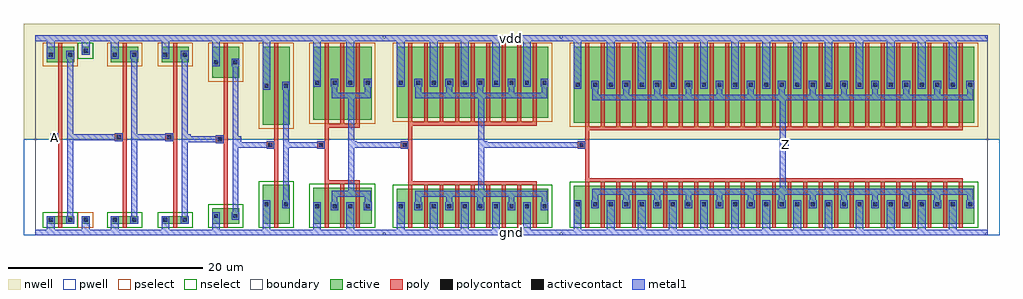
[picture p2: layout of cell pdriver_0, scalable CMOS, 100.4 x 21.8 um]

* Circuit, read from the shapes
.subckt pdriver_0 A Z gnd vdd
M1 pinv_9_1/A A gnd gnd nfet w=0.8u l=0.4u
M2 pinv_9_2/A pinv_9_1/A gnd gnd nfet w=0.8u l=0.4u
M3 pinv_10_3/A pinv_9_2/A gnd gnd nfet w=0.8u l=0.4u
M4 pinv_11_4/A pinv_10_3/A gnd gnd nfet w=1.6u l=0.4u
M5 pinv_12_5/A pinv_11_4/A gnd gnd nfet w=4u l=0.4u
M6 pinv_13_6/A pinv_12_5/A gnd gnd nfet w=3.7u l=0.4u m=3
M7 pinv_14_7/A pinv_13_6/A gnd gnd nfet w=3.6u l=0.4u m=9
M8 Z pinv_14_7/A gnd gnd nfet w=3.9u l=0.4u m=25
M9 pinv_9_1/A A vdd vdd pfet w=1.6u l=0.4u
M10 pinv_9_2/A pinv_9_1/A vdd vdd pfet w=1.6u l=0.4u
M11 pinv_10_3/A pinv_9_2/A vdd vdd pfet w=1.6u l=0.4u
M12 pinv_11_4/A pinv_10_3/A vdd vdd pfet w=3.2u l=0.4u
M13 pinv_12_5/A pinv_11_4/A vdd vdd pfet w=8u l=0.4u
M14 pinv_13_6/A pinv_12_5/A vdd vdd pfet w=7.5u l=0.4u m=3
M15 pinv_14_7/A pinv_13_6/A vdd vdd pfet w=7.3u l=0.4u m=9
M16 Z pinv_14_7/A vdd vdd pfet w=7.8u l=0.4u m=25
.ends

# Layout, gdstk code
import gdstk
lib = gdstk.Library(unit=1e-6, precision=1e-09)
def R(c, l, rs):  # rectangles x0, y0, x1, y1
    for r in rs: c.add(gdstk.rectangle(r[:2], r[2:], *l))
def A(c, l, x, y, w, h, nx, ny, dx, dy):  # array of equal rectangles
    R(c, l, [(x+i*dx, y+j*dy, x+i*dx+w, y+j*dy+h) for i in range(nx) for j in range(ny)])
pwell = (41, 0)
nwell = (42, 0)
active = (43, 0)
pselect = (44, 0)
nselect = (45, 0)
poly = (46, 0)
polycontact = (47, 0)
activecontact = (48, 0)
metal1 = (49, 0)
boundary = (63, 0)

contact_10 = lib.new_cell('contact_10')
R(contact_10, nwell, [(-1.2,-1.2,2,2)])
R(contact_10, active, [(0,0,0.8,0.8)])
R(contact_10, pselect, [(-0.4,-0.4,1.2,1.2)])
R(contact_10, activecontact, [(0.2,0.2,0.6,0.6)])
R(contact_10, metal1, [(0,0,0.8,0.8)])
R(contact_10, boundary, [(-1.2,-1.2,2,2)])

pmos_m1_w1_600_sm1_dm1_d = lib.new_cell('pmos_m1_w1_600_sm1_dm1_da_p')
R(pmos_m1_w1_600_sm1_dm1_d, nwell, [(-1.2,-1.2,4,2.8)])
R(pmos_m1_w1_600_sm1_dm1_d, active, [(0,0,2.8,1.6)])
R(pmos_m1_w1_600_sm1_dm1_d, pselect, [(-0.4,-0.4,3.2,2)])
R(pmos_m1_w1_600_sm1_dm1_d, poly, [(1.2,-0.4,1.6,2), (1.2,-0.4,1.6,2)])
R(pmos_m1_w1_600_sm1_dm1_d, metal1, [(0,0.4,0.8,1.2), (2,0.4,2.8,1.2)])
R(pmos_m1_w1_600_sm1_dm1_d, boundary, [(-1.2,-1.2,4,2.8)])
pmos_m1_w1_600_sm1_dm1_d.add(gdstk.Reference(contact_10, (0,0.4)))
pmos_m1_w1_600_sm1_dm1_d.add(gdstk.Reference(contact_10, (2,0.4)))
pmos_m1_w1_600_sm1_dm1_d.add(gdstk.Label('G', (1.4,0.8), layer=46, texttype=0))
pmos_m1_w1_600_sm1_dm1_d.add(gdstk.Label('S', (0.4,0.8), layer=49, texttype=0))
pmos_m1_w1_600_sm1_dm1_d.add(gdstk.Label('D', (2.4,0.8), layer=49, texttype=0))

contact_9 = lib.new_cell('contact_9')
R(contact_9, pwell, [(-1.2,-1.2,2,2)])
R(contact_9, active, [(0,0,0.8,0.8)])
R(contact_9, nselect, [(-0.4,-0.4,1.2,1.2)])
R(contact_9, activecontact, [(0.2,0.2,0.6,0.6)])
R(contact_9, metal1, [(0,0,0.8,0.8)])
R(contact_9, boundary, [(-1.2,-1.2,2,2)])

nmos_m1_w0_800_sm1_dm1_d = lib.new_cell('nmos_m1_w0_800_sm1_dm1_da_p')
R(nmos_m1_w0_800_sm1_dm1_d, pwell, [(-1.2,-1.2,4,2)])
R(nmos_m1_w0_800_sm1_dm1_d, active, [(0,0,2.8,0.8)])
R(nmos_m1_w0_800_sm1_dm1_d, nselect, [(-0.4,-0.4,3.2,1.2)])
R(nmos_m1_w0_800_sm1_dm1_d, poly, [(1.2,-0.4,1.6,1.2), (1.2,-0.4,1.6,1.2)])
R(nmos_m1_w0_800_sm1_dm1_d, metal1, [(0,0,0.8,0.8), (2,0,2.8,0.8)])
R(nmos_m1_w0_800_sm1_dm1_d, boundary, [(-1.2,-1.2,4,2)])
nmos_m1_w0_800_sm1_dm1_d.add(gdstk.Reference(contact_9, (0,0)))
nmos_m1_w0_800_sm1_dm1_d.add(gdstk.Reference(contact_9, (2,0)))
nmos_m1_w0_800_sm1_dm1_d.add(gdstk.Label('G', (1.4,0.4), layer=46, texttype=0))
nmos_m1_w0_800_sm1_dm1_d.add(gdstk.Label('S', (0.4,0.4), layer=49, texttype=0))
nmos_m1_w0_800_sm1_dm1_d.add(gdstk.Label('D', (2.4,0.4), layer=49, texttype=0))

contact_11 = lib.new_cell('contact_11')
R(contact_11, nwell, [(-1.2,-1.2,2,2)])
R(contact_11, active, [(0,0,0.8,0.8)])
R(contact_11, nselect, [(-0.4,-0.4,1.2,1.2)])
R(contact_11, activecontact, [(0.2,0.2,0.6,0.6)])
R(contact_11, metal1, [(0,0,0.8,0.8)])
R(contact_11, boundary, [(-1.2,-1.2,2,2)])

contact_12 = lib.new_cell('contact_12')
R(contact_12, pwell, [(-1.2,-1.2,2,2)])
R(contact_12, active, [(0,0,0.8,0.8)])
R(contact_12, pselect, [(-0.4,-0.4,1.2,1.2)])
R(contact_12, activecontact, [(0.2,0.2,0.6,0.6)])
R(contact_12, metal1, [(0,0,0.8,0.8)])
R(contact_12, boundary, [(-1.2,-1.2,2,2)])

contact_13 = lib.new_cell('contact_13')
R(contact_13, poly, [(0,0,0.8,0.8)])
R(contact_13, polycontact, [(0.2,0.2,0.6,0.6)])
R(contact_13, metal1, [(0,0,0.8,0.8)])
R(contact_13, boundary, [(0,0,0.8,0.8)])

pinv_8 = lib.new_cell('pinv_8')
R(pinv_8, pwell, [(-1.2,-0.3,7.8,9.6)])
R(pinv_8, nwell, [(-1.2,9.6,7.8,21.5)])
R(pinv_8, poly, [(2.4,2.1,2.8,17.1), (2,9.4,2.4,10.2)])
R(pinv_8, metal1, [(0,-0.3,6.6,0.3), (1.2,-0.3,2,0.9), (4.8,0,5.6,1.3), (3.3,0.9,3.9,18.7), (1.6,9.4,2.4,10.2), (3.6,9.5,4.2,10.1), (1.2,17.9,2,20.3), (4.8,18.7,5.6,20), (0,19.7,6.6,20.3)])
R(pinv_8, boundary, [(0,0,6.6,20), (0,0,6.6,20)])
pinv_8.add(gdstk.Reference(pmos_m1_w1_600_sm1_dm1_d, (1.2,17.5)))
pinv_8.add(gdstk.Reference(nmos_m1_w0_800_sm1_dm1_d, (1.2,0.9)))
pinv_8.add(gdstk.Reference(contact_11, (4.8,18.3)))
pinv_8.add(gdstk.Reference(contact_12, (4.8,0.9)))
pinv_8.add(gdstk.Reference(contact_13, (1.6,9.4)))
pinv_8.add(gdstk.Label('A', (2,9.8), layer=49, texttype=0))
pinv_8.add(gdstk.Label('Z', (3.9,9.8), layer=49, texttype=0))
pinv_8.add(gdstk.Label('gnd', (3.3,0), layer=49, texttype=0))
pinv_8.add(gdstk.Label('vdd', (3.3,20), layer=49, texttype=0))

pinv_9 = lib.new_cell('pinv_9')
R(pinv_9, pwell, [(-1.2,-0.3,6.4,9.6)])
R(pinv_9, nwell, [(-1.2,9.6,6.4,21.5)])
R(pinv_9, poly, [(2.4,2.1,2.8,17.1), (2,9.4,2.4,10.2)])
R(pinv_9, metal1, [(0,-0.3,5.2,0.3), (1.2,-0.3,2,0.9), (3.3,0.9,3.9,18.7), (1.6,9.4,2.4,10.2), (3.6,9.5,4.2,10.1), (1.2,17.9,2,20.3), (0,19.7,5.2,20.3)])
R(pinv_9, boundary, [(0,0,5.2,20), (0,0,5.2,20)])
pinv_9.add(gdstk.Reference(pmos_m1_w1_600_sm1_dm1_d, (1.2,17.5)))
pinv_9.add(gdstk.Reference(nmos_m1_w0_800_sm1_dm1_d, (1.2,0.9)))
pinv_9.add(gdstk.Reference(contact_13, (1.6,9.4)))
pinv_9.add(gdstk.Label('A', (2,9.8), layer=49, texttype=0))
pinv_9.add(gdstk.Label('Z', (3.9,9.8), layer=49, texttype=0))
pinv_9.add(gdstk.Label('gnd', (2.6,0), layer=49, texttype=0))
pinv_9.add(gdstk.Label('vdd', (2.6,20), layer=49, texttype=0))

pmos_m1_w3_200_sm1_dm1_d = lib.new_cell('pmos_m1_w3_200_sm1_dm1_da_p')
R(pmos_m1_w3_200_sm1_dm1_d, nwell, [(-1.2,-1.2,4,4.4)])
R(pmos_m1_w3_200_sm1_dm1_d, active, [(0,0,2.8,3.2)])
R(pmos_m1_w3_200_sm1_dm1_d, pselect, [(-0.4,-0.4,3.2,3.6)])
R(pmos_m1_w3_200_sm1_dm1_d, poly, [(1.2,-0.4,1.6,3.6), (1.2,-0.4,1.6,3.6)])
R(pmos_m1_w3_200_sm1_dm1_d, metal1, [(0,1.2,0.8,2), (2,1.2,2.8,2)])
R(pmos_m1_w3_200_sm1_dm1_d, boundary, [(-1.2,-1.2,4,4.4)])
pmos_m1_w3_200_sm1_dm1_d.add(gdstk.Reference(contact_10, (0,1.2)))
pmos_m1_w3_200_sm1_dm1_d.add(gdstk.Reference(contact_10, (2,1.2)))
pmos_m1_w3_200_sm1_dm1_d.add(gdstk.Label('G', (1.4,1.6), layer=46, texttype=0))
pmos_m1_w3_200_sm1_dm1_d.add(gdstk.Label('S', (0.4,1.6), layer=49, texttype=0))
pmos_m1_w3_200_sm1_dm1_d.add(gdstk.Label('D', (2.4,1.6), layer=49, texttype=0))

nmos_m1_w1_600_sm1_dm1_d = lib.new_cell('nmos_m1_w1_600_sm1_dm1_da_p')
R(nmos_m1_w1_600_sm1_dm1_d, pwell, [(-1.2,-1.2,4,2.8)])
R(nmos_m1_w1_600_sm1_dm1_d, active, [(0,0,2.8,1.6)])
R(nmos_m1_w1_600_sm1_dm1_d, nselect, [(-0.4,-0.4,3.2,2)])
R(nmos_m1_w1_600_sm1_dm1_d, poly, [(1.2,-0.4,1.6,2), (1.2,-0.4,1.6,2)])
R(nmos_m1_w1_600_sm1_dm1_d, metal1, [(0,0.4,0.8,1.2), (2,0.4,2.8,1.2)])
R(nmos_m1_w1_600_sm1_dm1_d, boundary, [(-1.2,-1.2,4,2.8)])
nmos_m1_w1_600_sm1_dm1_d.add(gdstk.Reference(contact_9, (0,0.4)))
nmos_m1_w1_600_sm1_dm1_d.add(gdstk.Reference(contact_9, (2,0.4)))
nmos_m1_w1_600_sm1_dm1_d.add(gdstk.Label('G', (1.4,0.8), layer=46, texttype=0))
nmos_m1_w1_600_sm1_dm1_d.add(gdstk.Label('S', (0.4,0.8), layer=49, texttype=0))
nmos_m1_w1_600_sm1_dm1_d.add(gdstk.Label('D', (2.4,0.8), layer=49, texttype=0))

pinv_10 = lib.new_cell('pinv_10')
R(pinv_10, pwell, [(-1.2,-0.3,6.4,9.6)])
R(pinv_10, nwell, [(-1.2,9.6,6.4,21.5)])
R(pinv_10, poly, [(2.4,2.9,2.8,15.5), (2,9.2,2.4,10)])
R(pinv_10, metal1, [(0,-0.3,5.2,0.3), (1.2,-0.3,2,1.3), (3.3,1.3,3.9,17.9), (1.6,9.2,2.4,10), (3.6,9.3,4.2,9.9), (1.2,17.1,2,20.3), (0,19.7,5.2,20.3)])
R(pinv_10, boundary, [(0,0,5.2,20), (0,0,5.2,20)])
pinv_10.add(gdstk.Reference(pmos_m1_w3_200_sm1_dm1_d, (1.2,15.9)))
pinv_10.add(gdstk.Reference(nmos_m1_w1_600_sm1_dm1_d, (1.2,0.9)))
pinv_10.add(gdstk.Reference(contact_13, (1.6,9.2)))
pinv_10.add(gdstk.Label('A', (2,9.6), layer=49, texttype=0))
pinv_10.add(gdstk.Label('Z', (3.9,9.6), layer=49, texttype=0))
pinv_10.add(gdstk.Label('gnd', (2.6,0), layer=49, texttype=0))
pinv_10.add(gdstk.Label('vdd', (2.6,20), layer=49, texttype=0))

pmos_m1_w8_000_sm1_dm1_d = lib.new_cell('pmos_m1_w8_000_sm1_dm1_da_p')
R(pmos_m1_w8_000_sm1_dm1_d, nwell, [(-1.2,-1.2,4,9.2)])
R(pmos_m1_w8_000_sm1_dm1_d, active, [(0,0,2.8,8)])
R(pmos_m1_w8_000_sm1_dm1_d, pselect, [(-0.4,-0.4,3.2,8.4)])
R(pmos_m1_w8_000_sm1_dm1_d, poly, [(1.2,-0.4,1.6,8.4), (1.2,-0.4,1.6,8.4)])
R(pmos_m1_w8_000_sm1_dm1_d, metal1, [(0,3.6,0.8,4.4), (2,3.6,2.8,4.4)])
R(pmos_m1_w8_000_sm1_dm1_d, boundary, [(-1.2,-1.2,4,9.2)])
pmos_m1_w8_000_sm1_dm1_d.add(gdstk.Reference(contact_10, (0,3.6)))
pmos_m1_w8_000_sm1_dm1_d.add(gdstk.Reference(contact_10, (2,3.6)))
pmos_m1_w8_000_sm1_dm1_d.add(gdstk.Label('G', (1.4,4), layer=46, texttype=0))
pmos_m1_w8_000_sm1_dm1_d.add(gdstk.Label('S', (0.4,4), layer=49, texttype=0))
pmos_m1_w8_000_sm1_dm1_d.add(gdstk.Label('D', (2.4,4), layer=49, texttype=0))

nmos_m1_w4_000_sm1_dm1_d = lib.new_cell('nmos_m1_w4_000_sm1_dm1_da_p')
R(nmos_m1_w4_000_sm1_dm1_d, pwell, [(-1.2,-1.2,4,5.2)])
R(nmos_m1_w4_000_sm1_dm1_d, active, [(0,0,2.8,4)])
R(nmos_m1_w4_000_sm1_dm1_d, nselect, [(-0.4,-0.4,3.2,4.4)])
R(nmos_m1_w4_000_sm1_dm1_d, poly, [(1.2,-0.4,1.6,4.4), (1.2,-0.4,1.6,4.4)])
R(nmos_m1_w4_000_sm1_dm1_d, metal1, [(0,1.6,0.8,2.4), (2,1.6,2.8,2.4)])
R(nmos_m1_w4_000_sm1_dm1_d, boundary, [(-1.2,-1.2,4,5.2)])
nmos_m1_w4_000_sm1_dm1_d.add(gdstk.Reference(contact_9, (0,1.6)))
nmos_m1_w4_000_sm1_dm1_d.add(gdstk.Reference(contact_9, (2,1.6)))
nmos_m1_w4_000_sm1_dm1_d.add(gdstk.Label('G', (1.4,2), layer=46, texttype=0))
nmos_m1_w4_000_sm1_dm1_d.add(gdstk.Label('S', (0.4,2), layer=49, texttype=0))
nmos_m1_w4_000_sm1_dm1_d.add(gdstk.Label('D', (2.4,2), layer=49, texttype=0))

pinv_11 = lib.new_cell('pinv_11')
R(pinv_11, pwell, [(-1.2,-0.3,6.4,9.6)])
R(pinv_11, nwell, [(-1.2,9.6,6.4,21.5)])
R(pinv_11, poly, [(2.4,5.3,2.8,10.7), (2,8.6,2.4,9.4)])
R(pinv_11, metal1, [(0,-0.3,5.2,0.3), (1.2,-0.3,2,2.5), (3.3,2.5,3.9,15.5), (1.6,8.6,2.4,9.4), (3.6,8.7,4.2,9.3), (1.2,14.7,2,20.3), (0,19.7,5.2,20.3)])
R(pinv_11, boundary, [(0,0,5.2,20), (0,0,5.2,20)])
pinv_11.add(gdstk.Reference(pmos_m1_w8_000_sm1_dm1_d, (1.2,11.1)))
pinv_11.add(gdstk.Reference(nmos_m1_w4_000_sm1_dm1_d, (1.2,0.9)))
pinv_11.add(gdstk.Reference(contact_13, (1.6,8.6)))
pinv_11.add(gdstk.Label('A', (2,9), layer=49, texttype=0))
pinv_11.add(gdstk.Label('Z', (3.9,9), layer=49, texttype=0))
pinv_11.add(gdstk.Label('gnd', (2.6,0), layer=49, texttype=0))
pinv_11.add(gdstk.Label('vdd', (2.6,20), layer=49, texttype=0))

pmos_m3_w7_500_sm1_dm1_d = lib.new_cell('pmos_m3_w7_500_sm1_dm1_da_p')
R(pmos_m3_w7_500_sm1_dm1_d, nwell, [(-1.2,-1.2,7.2,8.7)])
R(pmos_m3_w7_500_sm1_dm1_d, active, [(0,0,6,7.5)])
R(pmos_m3_w7_500_sm1_dm1_d, pselect, [(-0.4,-0.4,6.4,7.9)])
A(pmos_m3_w7_500_sm1_dm1_d, poly, 1.2, -0.4, 0.4, 8.3, 3, 1, 1.6, 0)
R(pmos_m3_w7_500_sm1_dm1_d, poly, [(1.2,-0.8,4.8,-0.4)])
R(pmos_m3_w7_500_sm1_dm1_d, metal1, [(1.9,2.2,5.9,2.8), (1.9,2.4,2.5,3.8), (5.3,2.4,5.9,3.8), (0,3.4,0.8,4.2), (3.4,3.4,4.2,4.2)])
R(pmos_m3_w7_500_sm1_dm1_d, boundary, [(-1.2,-1.2,7.2,8.7)])
pmos_m3_w7_500_sm1_dm1_d.add(gdstk.Reference(contact_10, (0,3.4)))
pmos_m3_w7_500_sm1_dm1_d.add(gdstk.Reference(contact_10, (1.8,3.4)))
pmos_m3_w7_500_sm1_dm1_d.add(gdstk.Reference(contact_10, (3.4,3.4)))
pmos_m3_w7_500_sm1_dm1_d.add(gdstk.Reference(contact_10, (5.2,3.4)))
pmos_m3_w7_500_sm1_dm1_d.add(gdstk.Label('G', (3,-0.6), layer=46, texttype=0))
pmos_m3_w7_500_sm1_dm1_d.add(gdstk.Label('S', (3.8,3.8), layer=49, texttype=0))
pmos_m3_w7_500_sm1_dm1_d.add(gdstk.Label('S', (0.4,3.8), layer=49, texttype=0))
pmos_m3_w7_500_sm1_dm1_d.add(gdstk.Label('D', (3.9,2.5), layer=49, texttype=0))

nmos_m3_w3_700_sm1_dm1_d = lib.new_cell('nmos_m3_w3_700_sm1_dm1_da_p')
R(nmos_m3_w3_700_sm1_dm1_d, pwell, [(-1.2,-1.2,7.2,4.9)])
R(nmos_m3_w3_700_sm1_dm1_d, active, [(0,0,6,3.7)])
R(nmos_m3_w3_700_sm1_dm1_d, nselect, [(-0.4,-0.4,6.4,4.1)])
A(nmos_m3_w3_700_sm1_dm1_d, poly, 1.2, -0.4, 0.4, 4.5, 3, 1, 1.6, 0)
R(nmos_m3_w3_700_sm1_dm1_d, poly, [(1.2,4.1,4.8,4.5)])
R(nmos_m3_w3_700_sm1_dm1_d, metal1, [(0,1.4,0.8,2.2), (3.4,1.4,4.2,2.2), (1.9,1.8,2.5,3.2), (5.3,1.8,5.9,3.2), (1.9,2.8,5.9,3.4)])
R(nmos_m3_w3_700_sm1_dm1_d, boundary, [(-1.2,-1.2,7.2,4.9)])
nmos_m3_w3_700_sm1_dm1_d.add(gdstk.Reference(contact_9, (0,1.4)))
nmos_m3_w3_700_sm1_dm1_d.add(gdstk.Reference(contact_9, (1.8,1.4)))
nmos_m3_w3_700_sm1_dm1_d.add(gdstk.Reference(contact_9, (3.4,1.4)))
nmos_m3_w3_700_sm1_dm1_d.add(gdstk.Reference(contact_9, (5.2,1.4)))
nmos_m3_w3_700_sm1_dm1_d.add(gdstk.Label('G', (3,4.3), layer=46, texttype=0))
nmos_m3_w3_700_sm1_dm1_d.add(gdstk.Label('S', (0.4,1.8), layer=49, texttype=0))
nmos_m3_w3_700_sm1_dm1_d.add(gdstk.Label('S', (3.8,1.8), layer=49, texttype=0))
nmos_m3_w3_700_sm1_dm1_d.add(gdstk.Label('D', (3.9,3.1), layer=49, texttype=0))

pinv_12 = lib.new_cell('pinv_12')
R(pinv_12, pwell, [(-1.2,-0.3,9.8,9.6)])
R(pinv_12, nwell, [(-1.2,9.6,9.8,21.5)])
R(pinv_12, poly, [(2.4,5.4,2.8,10.8), (2,8.6,2.4,9.4)])
R(pinv_12, metal1, [(0,-0.3,8.6,0.3), (1.2,-0.3,2,2.3), (4.6,-0.3,5.4,2.3), (4.8,3.7,5.4,14.4), (1.6,8.6,2.4,9.4), (5.1,8.8,5.7,9.4), (1.2,15,2,20.3), (4.6,15,5.4,20.3), (0,19.7,8.6,20.3)])
R(pinv_12, boundary, [(0,0,8.6,20), (0,0,8.6,20)])
pinv_12.add(gdstk.Reference(pmos_m3_w7_500_sm1_dm1_d, (1.2,11.6)))
pinv_12.add(gdstk.Reference(nmos_m3_w3_700_sm1_dm1_d, (1.2,0.9)))
pinv_12.add(gdstk.Reference(contact_13, (1.6,8.6)))
pinv_12.add(gdstk.Label('A', (2,9), layer=49, texttype=0))
pinv_12.add(gdstk.Label('Z', (5.4,9.1), layer=49, texttype=0))
pinv_12.add(gdstk.Label('gnd', (4.3,0), layer=49, texttype=0))
pinv_12.add(gdstk.Label('vdd', (4.3,20), layer=49, texttype=0))

pmos_m9_w7_300_sm1_dm1_d = lib.new_cell('pmos_m9_w7_300_sm1_dm1_da_p')
R(pmos_m9_w7_300_sm1_dm1_d, nwell, [(-1.2,-1.2,16.8,8.5)])
R(pmos_m9_w7_300_sm1_dm1_d, active, [(0,0,15.6,7.3)])
R(pmos_m9_w7_300_sm1_dm1_d, pselect, [(-0.4,-0.4,16,7.7)])
A(pmos_m9_w7_300_sm1_dm1_d, poly, 1.2, -0.4, 0.4, 8.1, 9, 1, 1.6, 0)
R(pmos_m9_w7_300_sm1_dm1_d, poly, [(1.2,-0.8,14.4,-0.4)])
A(pmos_m9_w7_300_sm1_dm1_d, metal1, 1.9, 2.4, 0.6, 1.2, 4, 1, 3.2, 0)
A(pmos_m9_w7_300_sm1_dm1_d, metal1, 3.4, 3.2, 0.8, 0.8, 4, 1, 3.2, 0)
R(pmos_m9_w7_300_sm1_dm1_d, metal1, [(1.9,2,15.5,2.6), (14.9,2.4,15.5,3.6), (0,3.2,0.8,4)])
R(pmos_m9_w7_300_sm1_dm1_d, boundary, [(-1.2,-1.2,16.8,8.5)])
pmos_m9_w7_300_sm1_dm1_d.add(gdstk.Reference(contact_10, (0,3.2)))
pmos_m9_w7_300_sm1_dm1_d.add(gdstk.Reference(contact_10, (1.8,3.2)))
pmos_m9_w7_300_sm1_dm1_d.add(gdstk.Reference(contact_10, (3.4,3.2)))
pmos_m9_w7_300_sm1_dm1_d.add(gdstk.Reference(contact_10, (5,3.2)))
pmos_m9_w7_300_sm1_dm1_d.add(gdstk.Reference(contact_10, (6.6,3.2)))
pmos_m9_w7_300_sm1_dm1_d.add(gdstk.Reference(contact_10, (8.2,3.2)))
pmos_m9_w7_300_sm1_dm1_d.add(gdstk.Reference(contact_10, (9.8,3.2)))
pmos_m9_w7_300_sm1_dm1_d.add(gdstk.Reference(contact_10, (11.4,3.2)))
pmos_m9_w7_300_sm1_dm1_d.add(gdstk.Reference(contact_10, (13,3.2)))
pmos_m9_w7_300_sm1_dm1_d.add(gdstk.Reference(contact_10, (14.8,3.2)))
pmos_m9_w7_300_sm1_dm1_d.add(gdstk.Label('G', (7.8,-0.6), layer=46, texttype=0))
pmos_m9_w7_300_sm1_dm1_d.add(gdstk.Label('S', (7,3.6), layer=49, texttype=0))
pmos_m9_w7_300_sm1_dm1_d.add(gdstk.Label('S', (10.2,3.6), layer=49, texttype=0))
pmos_m9_w7_300_sm1_dm1_d.add(gdstk.Label('S', (0.4,3.6), layer=49, texttype=0))
pmos_m9_w7_300_sm1_dm1_d.add(gdstk.Label('S', (3.8,3.6), layer=49, texttype=0))
pmos_m9_w7_300_sm1_dm1_d.add(gdstk.Label('S', (13.4,3.6), layer=49, texttype=0))
pmos_m9_w7_300_sm1_dm1_d.add(gdstk.Label('D', (8.7,2.3), layer=49, texttype=0))

nmos_m9_w3_600_sm1_dm1_d = lib.new_cell('nmos_m9_w3_600_sm1_dm1_da_p')
R(nmos_m9_w3_600_sm1_dm1_d, pwell, [(-1.2,-1.2,16.8,4.8)])
R(nmos_m9_w3_600_sm1_dm1_d, active, [(0,0,15.6,3.6)])
R(nmos_m9_w3_600_sm1_dm1_d, nselect, [(-0.4,-0.4,16,4)])
A(nmos_m9_w3_600_sm1_dm1_d, poly, 1.2, -0.4, 0.4, 4.4, 9, 1, 1.6, 0)
R(nmos_m9_w3_600_sm1_dm1_d, poly, [(1.2,4,14.4,4.4)])
A(nmos_m9_w3_600_sm1_dm1_d, metal1, 3.4, 1.4, 0.8, 0.8, 4, 1, 3.2, 0)
A(nmos_m9_w3_600_sm1_dm1_d, metal1, 1.9, 1.8, 0.6, 1.3, 4, 1, 3.2, 0)
R(nmos_m9_w3_600_sm1_dm1_d, metal1, [(0,1.4,0.8,2.2), (14.9,1.8,15.5,3.1), (1.9,2.8,15.5,3.4)])
R(nmos_m9_w3_600_sm1_dm1_d, boundary, [(-1.2,-1.2,16.8,4.8)])
nmos_m9_w3_600_sm1_dm1_d.add(gdstk.Reference(contact_9, (0,1.4)))
nmos_m9_w3_600_sm1_dm1_d.add(gdstk.Reference(contact_9, (1.8,1.4)))
nmos_m9_w3_600_sm1_dm1_d.add(gdstk.Reference(contact_9, (3.4,1.4)))
nmos_m9_w3_600_sm1_dm1_d.add(gdstk.Reference(contact_9, (5,1.4)))
nmos_m9_w3_600_sm1_dm1_d.add(gdstk.Reference(contact_9, (6.6,1.4)))
nmos_m9_w3_600_sm1_dm1_d.add(gdstk.Reference(contact_9, (8.2,1.4)))
nmos_m9_w3_600_sm1_dm1_d.add(gdstk.Reference(contact_9, (9.8,1.4)))
nmos_m9_w3_600_sm1_dm1_d.add(gdstk.Reference(contact_9, (11.4,1.4)))
nmos_m9_w3_600_sm1_dm1_d.add(gdstk.Reference(contact_9, (13,1.4)))
nmos_m9_w3_600_sm1_dm1_d.add(gdstk.Reference(contact_9, (14.8,1.4)))
nmos_m9_w3_600_sm1_dm1_d.add(gdstk.Label('G', (7.8,4.2), layer=46, texttype=0))
nmos_m9_w3_600_sm1_dm1_d.add(gdstk.Label('S', (0.4,1.8), layer=49, texttype=0))
nmos_m9_w3_600_sm1_dm1_d.add(gdstk.Label('S', (7,1.8), layer=49, texttype=0))
nmos_m9_w3_600_sm1_dm1_d.add(gdstk.Label('S', (3.8,1.8), layer=49, texttype=0))
nmos_m9_w3_600_sm1_dm1_d.add(gdstk.Label('S', (10.2,1.8), layer=49, texttype=0))
nmos_m9_w3_600_sm1_dm1_d.add(gdstk.Label('S', (13.4,1.8), layer=49, texttype=0))
nmos_m9_w3_600_sm1_dm1_d.add(gdstk.Label('D', (8.7,3.1), layer=49, texttype=0))

pinv_13 = lib.new_cell('pinv_13')
R(pinv_13, pwell, [(-1.2,-0.3,19.4,9.6)])
R(pinv_13, nwell, [(-1.2,9.6,19.4,21.5)])
R(pinv_13, poly, [(2.4,5.3,2.8,11), (2,8.6,2.4,9.4)])
A(pinv_13, metal1, 4.6, -0.3, 0.8, 2.6, 4, 1, 3.2, 0)
A(pinv_13, metal1, 4.6, 15, 0.8, 5.3, 4, 1, 3.2, 0)
R(pinv_13, metal1, [(0,-0.3,18.2,0.3), (1.2,-0.3,2,2.3), (9.6,3.7,10.2,14.4), (1.6,8.6,2.4,9.4), (9.9,8.8,10.5,9.4), (1.2,15,2,20.3), (0,19.7,18.2,20.3)])
R(pinv_13, boundary, [(0,0,18.2,20), (0,0,18.2,20)])
pinv_13.add(gdstk.Reference(pmos_m9_w7_300_sm1_dm1_d, (1.2,11.8)))
pinv_13.add(gdstk.Reference(nmos_m9_w3_600_sm1_dm1_d, (1.2,0.9)))
pinv_13.add(gdstk.Reference(contact_13, (1.6,8.6)))
pinv_13.add(gdstk.Label('A', (2,9), layer=49, texttype=0))
pinv_13.add(gdstk.Label('Z', (10.2,9.1), layer=49, texttype=0))
pinv_13.add(gdstk.Label('gnd', (9.1,0), layer=49, texttype=0))
pinv_13.add(gdstk.Label('vdd', (9.1,20), layer=49, texttype=0))

pmos_m25_w7_800_sm1_dm1_ = lib.new_cell('pmos_m25_w7_800_sm1_dm1_da_p')
R(pmos_m25_w7_800_sm1_dm1_, nwell, [(-1.2,-1.2,42.4,9)])
R(pmos_m25_w7_800_sm1_dm1_, active, [(0,0,41.2,7.8)])
R(pmos_m25_w7_800_sm1_dm1_, pselect, [(-0.4,-0.4,41.6,8.2)])
A(pmos_m25_w7_800_sm1_dm1_, poly, 1.2, -0.4, 0.4, 8.6, 25, 1, 1.6, 0)
R(pmos_m25_w7_800_sm1_dm1_, poly, [(1.2,-0.8,40,-0.4)])
A(pmos_m25_w7_800_sm1_dm1_, metal1, 1.9, 2.6, 0.6, 1.3, 12, 1, 3.2, 0)
A(pmos_m25_w7_800_sm1_dm1_, metal1, 3.4, 3.5, 0.8, 0.8, 12, 1, 3.2, 0)
R(pmos_m25_w7_800_sm1_dm1_, metal1, [(1.9,2.3,41.1,2.9), (40.5,2.6,41.1,3.9), (0,3.5,0.8,4.3)])
R(pmos_m25_w7_800_sm1_dm1_, boundary, [(-1.2,-1.2,42.4,9)])
pmos_m25_w7_800_sm1_dm1_.add(gdstk.Reference(contact_10, (0,3.5)))
pmos_m25_w7_800_sm1_dm1_.add(gdstk.Reference(contact_10, (1.8,3.5)))
pmos_m25_w7_800_sm1_dm1_.add(gdstk.Reference(contact_10, (3.4,3.5)))
pmos_m25_w7_800_sm1_dm1_.add(gdstk.Reference(contact_10, (5,3.5)))
pmos_m25_w7_800_sm1_dm1_.add(gdstk.Reference(contact_10, (6.6,3.5)))
pmos_m25_w7_800_sm1_dm1_.add(gdstk.Reference(contact_10, (8.2,3.5)))
pmos_m25_w7_800_sm1_dm1_.add(gdstk.Reference(contact_10, (9.8,3.5)))
pmos_m25_w7_800_sm1_dm1_.add(gdstk.Reference(contact_10, (11.4,3.5)))
pmos_m25_w7_800_sm1_dm1_.add(gdstk.Reference(contact_10, (13,3.5)))
pmos_m25_w7_800_sm1_dm1_.add(gdstk.Reference(contact_10, (14.6,3.5)))
pmos_m25_w7_800_sm1_dm1_.add(gdstk.Reference(contact_10, (16.2,3.5)))
pmos_m25_w7_800_sm1_dm1_.add(gdstk.Reference(contact_10, (17.8,3.5)))
pmos_m25_w7_800_sm1_dm1_.add(gdstk.Reference(contact_10, (19.4,3.5)))
pmos_m25_w7_800_sm1_dm1_.add(gdstk.Reference(contact_10, (21,3.5)))
pmos_m25_w7_800_sm1_dm1_.add(gdstk.Reference(contact_10, (22.6,3.5)))
pmos_m25_w7_800_sm1_dm1_.add(gdstk.Reference(contact_10, (24.2,3.5)))
pmos_m25_w7_800_sm1_dm1_.add(gdstk.Reference(contact_10, (25.8,3.5)))
pmos_m25_w7_800_sm1_dm1_.add(gdstk.Reference(contact_10, (27.4,3.5)))
pmos_m25_w7_800_sm1_dm1_.add(gdstk.Reference(contact_10, (29,3.5)))
pmos_m25_w7_800_sm1_dm1_.add(gdstk.Reference(contact_10, (30.6,3.5)))
pmos_m25_w7_800_sm1_dm1_.add(gdstk.Reference(contact_10, (32.2,3.5)))
pmos_m25_w7_800_sm1_dm1_.add(gdstk.Reference(contact_10, (33.8,3.5)))
pmos_m25_w7_800_sm1_dm1_.add(gdstk.Reference(contact_10, (35.4,3.5)))
pmos_m25_w7_800_sm1_dm1_.add(gdstk.Reference(contact_10, (37,3.5)))
pmos_m25_w7_800_sm1_dm1_.add(gdstk.Reference(contact_10, (38.6,3.5)))
pmos_m25_w7_800_sm1_dm1_.add(gdstk.Reference(contact_10, (40.4,3.5)))
pmos_m25_w7_800_sm1_dm1_.add(gdstk.Label('G', (20.6,-0.6), layer=46, texttype=0))
pmos_m25_w7_800_sm1_dm1_.add(gdstk.Label('S', (39,3.9), layer=49, texttype=0))
pmos_m25_w7_800_sm1_dm1_.add(gdstk.Label('S', (13.4,3.9), layer=49, texttype=0))
pmos_m25_w7_800_sm1_dm1_.add(gdstk.Label('S', (3.8,3.9), layer=49, texttype=0))
pmos_m25_w7_800_sm1_dm1_.add(gdstk.Label('S', (7,3.9), layer=49, texttype=0))
pmos_m25_w7_800_sm1_dm1_.add(gdstk.Label('S', (29.4,3.9), layer=49, texttype=0))
pmos_m25_w7_800_sm1_dm1_.add(gdstk.Label('S', (19.8,3.9), layer=49, texttype=0))
pmos_m25_w7_800_sm1_dm1_.add(gdstk.Label('S', (32.6,3.9), layer=49, texttype=0))
pmos_m25_w7_800_sm1_dm1_.add(gdstk.Label('S', (26.2,3.9), layer=49, texttype=0))
pmos_m25_w7_800_sm1_dm1_.add(gdstk.Label('S', (35.8,3.9), layer=49, texttype=0))
pmos_m25_w7_800_sm1_dm1_.add(gdstk.Label('S', (23,3.9), layer=49, texttype=0))
pmos_m25_w7_800_sm1_dm1_.add(gdstk.Label('S', (16.6,3.9), layer=49, texttype=0))
pmos_m25_w7_800_sm1_dm1_.add(gdstk.Label('S', (10.2,3.9), layer=49, texttype=0))
pmos_m25_w7_800_sm1_dm1_.add(gdstk.Label('S', (0.4,3.9), layer=49, texttype=0))
pmos_m25_w7_800_sm1_dm1_.add(gdstk.Label('D', (21.5,2.6), layer=49, texttype=0))

nmos_m25_w3_900_sm1_dm1_ = lib.new_cell('nmos_m25_w3_900_sm1_dm1_da_p')
R(nmos_m25_w3_900_sm1_dm1_, pwell, [(-1.2,-1.2,42.4,5.1)])
R(nmos_m25_w3_900_sm1_dm1_, active, [(0,0,41.2,3.9)])
R(nmos_m25_w3_900_sm1_dm1_, nselect, [(-0.4,-0.4,41.6,4.3)])
A(nmos_m25_w3_900_sm1_dm1_, poly, 1.2, -0.4, 0.4, 4.7, 25, 1, 1.6, 0)
R(nmos_m25_w3_900_sm1_dm1_, poly, [(1.2,4.3,40,4.7)])
A(nmos_m25_w3_900_sm1_dm1_, metal1, 3.4, 1.6, 0.8, 0.8, 12, 1, 3.2, 0)
A(nmos_m25_w3_900_sm1_dm1_, metal1, 1.9, 2, 0.6, 1.2, 12, 1, 3.2, 0)
R(nmos_m25_w3_900_sm1_dm1_, metal1, [(0,1.6,0.8,2.4), (40.5,2,41.1,3.2), (1.9,3,41.1,3.6)])
R(nmos_m25_w3_900_sm1_dm1_, boundary, [(-1.2,-1.2,42.4,5.1)])
nmos_m25_w3_900_sm1_dm1_.add(gdstk.Reference(contact_9, (0,1.6)))
nmos_m25_w3_900_sm1_dm1_.add(gdstk.Reference(contact_9, (1.8,1.6)))
nmos_m25_w3_900_sm1_dm1_.add(gdstk.Reference(contact_9, (3.4,1.6)))
nmos_m25_w3_900_sm1_dm1_.add(gdstk.Reference(contact_9, (5,1.6)))
nmos_m25_w3_900_sm1_dm1_.add(gdstk.Reference(contact_9, (6.6,1.6)))
nmos_m25_w3_900_sm1_dm1_.add(gdstk.Reference(contact_9, (8.2,1.6)))
nmos_m25_w3_900_sm1_dm1_.add(gdstk.Reference(contact_9, (9.8,1.6)))
nmos_m25_w3_900_sm1_dm1_.add(gdstk.Reference(contact_9, (11.4,1.6)))
nmos_m25_w3_900_sm1_dm1_.add(gdstk.Reference(contact_9, (13,1.6)))
nmos_m25_w3_900_sm1_dm1_.add(gdstk.Reference(contact_9, (14.6,1.6)))
nmos_m25_w3_900_sm1_dm1_.add(gdstk.Reference(contact_9, (16.2,1.6)))
nmos_m25_w3_900_sm1_dm1_.add(gdstk.Reference(contact_9, (17.8,1.6)))
nmos_m25_w3_900_sm1_dm1_.add(gdstk.Reference(contact_9, (19.4,1.6)))
nmos_m25_w3_900_sm1_dm1_.add(gdstk.Reference(contact_9, (21,1.6)))
nmos_m25_w3_900_sm1_dm1_.add(gdstk.Reference(contact_9, (22.6,1.6)))
nmos_m25_w3_900_sm1_dm1_.add(gdstk.Reference(contact_9, (24.2,1.6)))
nmos_m25_w3_900_sm1_dm1_.add(gdstk.Reference(contact_9, (25.8,1.6)))
nmos_m25_w3_900_sm1_dm1_.add(gdstk.Reference(contact_9, (27.4,1.6)))
nmos_m25_w3_900_sm1_dm1_.add(gdstk.Reference(contact_9, (29,1.6)))
nmos_m25_w3_900_sm1_dm1_.add(gdstk.Reference(contact_9, (30.6,1.6)))
nmos_m25_w3_900_sm1_dm1_.add(gdstk.Reference(contact_9, (32.2,1.6)))
nmos_m25_w3_900_sm1_dm1_.add(gdstk.Reference(contact_9, (33.8,1.6)))
nmos_m25_w3_900_sm1_dm1_.add(gdstk.Reference(contact_9, (35.4,1.6)))
nmos_m25_w3_900_sm1_dm1_.add(gdstk.Reference(contact_9, (37,1.6)))
nmos_m25_w3_900_sm1_dm1_.add(gdstk.Reference(contact_9, (38.6,1.6)))
nmos_m25_w3_900_sm1_dm1_.add(gdstk.Reference(contact_9, (40.4,1.6)))
nmos_m25_w3_900_sm1_dm1_.add(gdstk.Label('G', (20.6,4.5), layer=46, texttype=0))
nmos_m25_w3_900_sm1_dm1_.add(gdstk.Label('S', (39,2), layer=49, texttype=0))
nmos_m25_w3_900_sm1_dm1_.add(gdstk.Label('S', (3.8,2), layer=49, texttype=0))
nmos_m25_w3_900_sm1_dm1_.add(gdstk.Label('S', (26.2,2), layer=49, texttype=0))
nmos_m25_w3_900_sm1_dm1_.add(gdstk.Label('S', (7,2), layer=49, texttype=0))
nmos_m25_w3_900_sm1_dm1_.add(gdstk.Label('S', (19.8,2), layer=49, texttype=0))
nmos_m25_w3_900_sm1_dm1_.add(gdstk.Label('S', (32.6,2), layer=49, texttype=0))
nmos_m25_w3_900_sm1_dm1_.add(gdstk.Label('S', (10.2,2), layer=49, texttype=0))
nmos_m25_w3_900_sm1_dm1_.add(gdstk.Label('S', (0.4,2), layer=49, texttype=0))
nmos_m25_w3_900_sm1_dm1_.add(gdstk.Label('S', (29.4,2), layer=49, texttype=0))
nmos_m25_w3_900_sm1_dm1_.add(gdstk.Label('S', (23,2), layer=49, texttype=0))
nmos_m25_w3_900_sm1_dm1_.add(gdstk.Label('S', (13.4,2), layer=49, texttype=0))
nmos_m25_w3_900_sm1_dm1_.add(gdstk.Label('S', (16.6,2), layer=49, texttype=0))
nmos_m25_w3_900_sm1_dm1_.add(gdstk.Label('S', (35.8,2), layer=49, texttype=0))
nmos_m25_w3_900_sm1_dm1_.add(gdstk.Label('D', (21.5,3.3), layer=49, texttype=0))

pinv_14 = lib.new_cell('pinv_14')
R(pinv_14, pwell, [(-1.2,-0.3,45,9.6)])
R(pinv_14, nwell, [(-1.2,9.6,45,21.5)])
R(pinv_14, poly, [(2.4,5.6,2.8,10.5), (2,8.6,2.4,9.4)])
A(pinv_14, metal1, 4.6, -0.3, 0.8, 2.8, 12, 1, 3.2, 0)
A(pinv_14, metal1, 4.6, 14.8, 0.8, 5.5, 12, 1, 3.2, 0)
R(pinv_14, metal1, [(0,-0.3,43.8,0.3), (1.2,-0.3,2,2.5), (22.4,3.9,23,14.2), (1.6,8.6,2.4,9.4), (22.7,8.8,23.3,9.4), (1.2,14.8,2,20.3), (0,19.7,43.8,20.3)])
R(pinv_14, boundary, [(0,0,43.8,20), (0,0,43.8,20)])
pinv_14.add(gdstk.Reference(pmos_m25_w7_800_sm1_dm1_, (1.2,11.3)))
pinv_14.add(gdstk.Reference(nmos_m25_w3_900_sm1_dm1_, (1.2,0.9)))
pinv_14.add(gdstk.Reference(contact_13, (1.6,8.6)))
pinv_14.add(gdstk.Label('A', (2,9), layer=49, texttype=0))
pinv_14.add(gdstk.Label('Z', (23,9.1), layer=49, texttype=0))
pinv_14.add(gdstk.Label('gnd', (21.9,0), layer=49, texttype=0))
pinv_14.add(gdstk.Label('vdd', (21.9,20), layer=49, texttype=0))

pdriver_0 = lib.new_cell('pdriver_0')
R(pdriver_0, pwell, [(-1.2,-0.3,99.2,9.6)])
R(pdriver_0, nwell, [(-1.2,9.6,99.2,21.5)])
R(pdriver_0, metal1, [(0,-0.3,98,0.3), (20.6,8.7,21.2,9.3), (20.9,8.7,24.2,9.3), (26.1,8.7,29.4,9.3), (32.5,8.7,33.1,9.3), (32.8,8.7,38,9.3), (45.9,8.7,46.5,9.3), (46.2,8.7,56.2,9.3), (76.9,8.8,77.5,9.4), (20.6,9,21.2,9.6), (32.5,9,33.1,9.1), (45.9,9,46.5,9.1), (15.4,9.3,16,9.9), (15.7,9.3,19,9.9), (1.6,9.4,2.4,10.2), (3.9,9.5,8.6,10.1), (10.5,9.5,13.8,10.1), (15.4,9.6,16,9.8), (0,19.7,98,20.3)])
R(pdriver_0, boundary, [(0,0,98,20), (0,0,98,20)])
pdriver_0.add(gdstk.Reference(pinv_8, (0,0)))
pdriver_0.add(gdstk.Reference(pinv_9, (6.6,0)))
pdriver_0.add(gdstk.Reference(pinv_9, (11.8,0)))
pdriver_0.add(gdstk.Reference(pinv_10, (17,0)))
pdriver_0.add(gdstk.Reference(pinv_11, (22.2,0)))
pdriver_0.add(gdstk.Reference(pinv_12, (27.4,0)))
pdriver_0.add(gdstk.Reference(pinv_13, (36,0)))
pdriver_0.add(gdstk.Reference(pinv_14, (54.2,0)))
pdriver_0.add(gdstk.Label('Z', (77.2,9.1), layer=49, texttype=0))
pdriver_0.add(gdstk.Label('A', (2,9.8), layer=49, texttype=0))
pdriver_0.add(gdstk.Label('gnd', (49,0), layer=49, texttype=0))
pdriver_0.add(gdstk.Label('vdd', (49,20), layer=49, texttype=0))

lib.write_gds('pdriver_0.gds')
